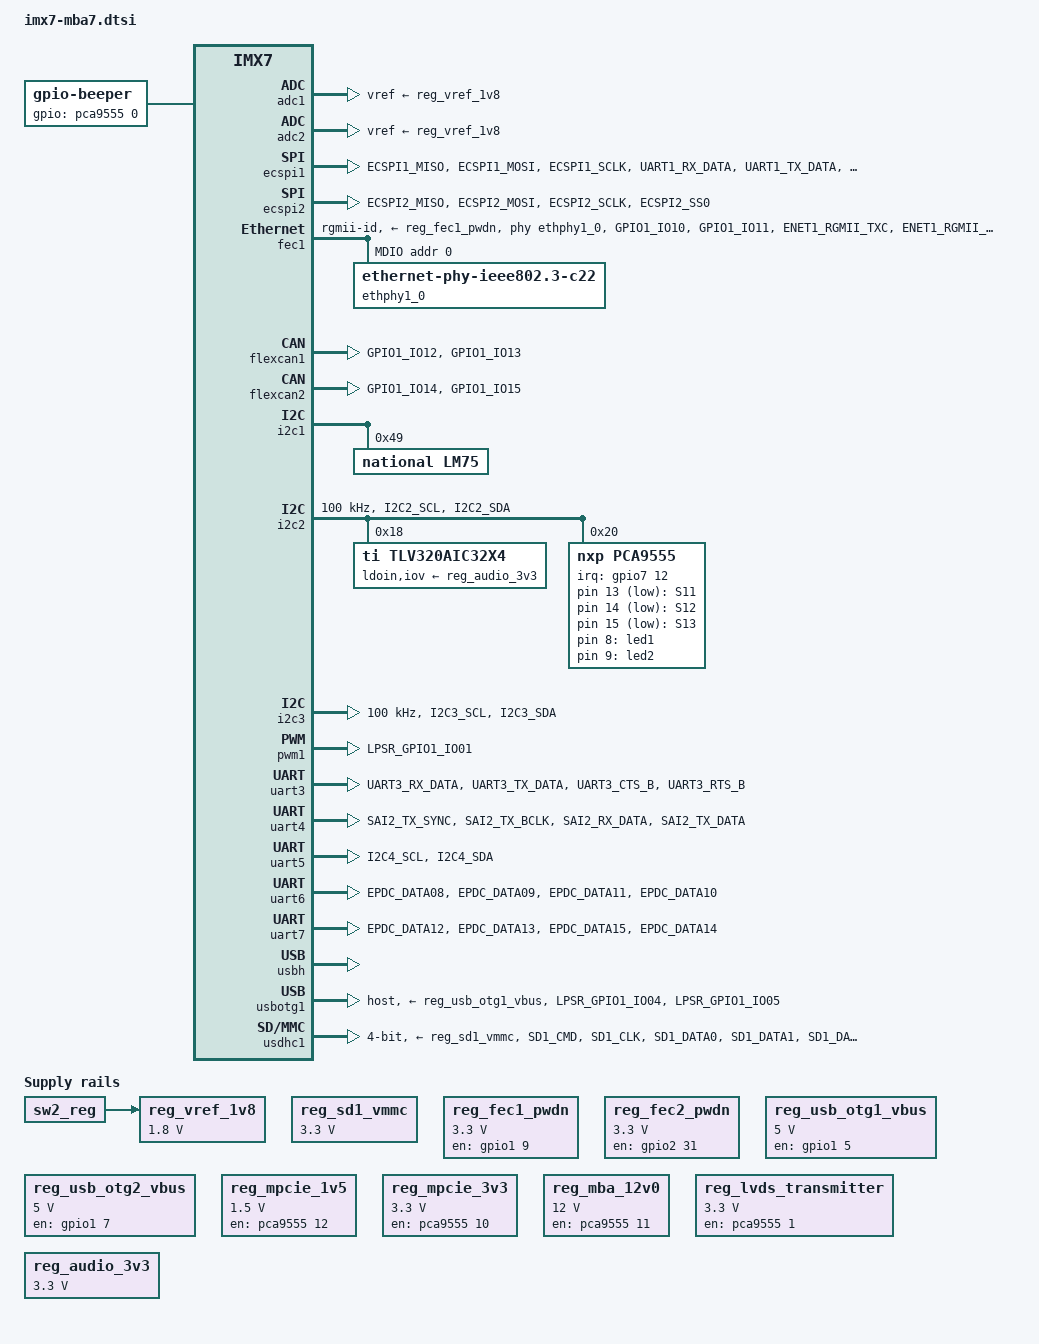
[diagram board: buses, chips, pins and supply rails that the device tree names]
// SPDX-License-Identifier: GPL-2.0 OR X11
/*
 * Device Tree Include file for TQ Systems MBa7 carrier board.
 *
 * Copyright (C) 2016 TQ Systems GmbH
 * Author: Markus Niebel <Markus.Niebel@tq-group.com>
 * Copyright (C) 2019 Bruno Thomsen <bruno.thomsen@gmail.com>
 *
 * Note: This file does not include nodes for all peripheral devices.
 * As device driver coverage increases additional nodes can be added.
 */

#include <dt-bindings/input/input.h>
#include <dt-bindings/net/ti-dp83867.h>

/ {
	beeper {
		compatible = "gpio-beeper";
		gpios = <&pca9555 0 GPIO_ACTIVE_HIGH>;
	};

	chosen {
		stdout-path = &uart6;
	};

	gpio_buttons: gpio-keys {
		compatible = "gpio-keys";

		button-0 {
			/* #SWITCH_A */
			label = "S11";
			linux,code = <KEY_1>;
			gpios = <&pca9555 13 GPIO_ACTIVE_LOW>;
		};

		button-1 {
			/* #SWITCH_B */
			label = "S12";
			linux,code = <KEY_2>;
			gpios = <&pca9555 14 GPIO_ACTIVE_LOW>;
		};

		button-2 {
			/* #SWITCH_C */
			label = "S13";
			linux,code = <KEY_3>;
			gpios = <&pca9555 15 GPIO_ACTIVE_LOW>;
		};
	};

	gpio-leds {
		compatible = "gpio-leds";

		led1 {
			label = "led1";
			gpios = <&pca9555 8 GPIO_ACTIVE_HIGH>;
			linux,default-trigger = "default-on";
		};

		led2 {
			label = "led2";
			gpios = <&pca9555 9 GPIO_ACTIVE_HIGH>;
			linux,default-trigger = "heartbeat";
		};
	};

	reg_sd1_vmmc: regulator-sd1-vmmc {
		compatible = "regulator-fixed";
		regulator-name = "VCC3V3_SD1";
		regulator-min-microvolt = <3300000>;
		regulator-max-microvolt = <3300000>;
		regulator-always-on;
	};

	reg_fec1_pwdn: regulator-fec1-pwdn {
		compatible = "regulator-fixed";
		regulator-name = "PWDN_FEC1";
		regulator-min-microvolt = <3300000>;
		regulator-max-microvolt = <3300000>;
		regulator-always-on;
		gpio = <&gpio1 9 GPIO_ACTIVE_HIGH>;
		enable-active-high;
	};

	reg_fec2_pwdn: regulator-fec2-pwdn {
		compatible = "regulator-fixed";
		regulator-name = "PWDN_FEC2";
		regulator-min-microvolt = <3300000>;
		regulator-max-microvolt = <3300000>;
		regulator-always-on;
		gpio = <&gpio2 31 GPIO_ACTIVE_HIGH>;
		enable-active-high;
	};

	reg_usb_otg1_vbus: regulator-usb-otg1-vbus {
		compatible = "regulator-fixed";
		regulator-name = "VBUS_USBOTG1";
		regulator-min-microvolt = <5000000>;
		regulator-max-microvolt = <5000000>;
		gpio = <&gpio1 5 GPIO_ACTIVE_HIGH>;
		enable-active-high;
	};

	reg_usb_otg2_vbus: regulator-usb-otg2-vbus {
		compatible = "regulator-fixed";
		regulator-name = "VBUS_USBOTG2";
		regulator-min-microvolt = <5000000>;
		regulator-max-microvolt = <5000000>;
		gpio = <&gpio1 7 GPIO_ACTIVE_HIGH>;
		enable-active-high;
	};

	reg_mpcie_1v5: regulator-mpcie-1v5 {
		compatible = "regulator-fixed";
		regulator-name = "VCC1V5_MPCIE";
		regulator-min-microvolt = <1500000>;
		regulator-max-microvolt = <1500000>;
		gpio = <&pca9555 12 GPIO_ACTIVE_HIGH>;
		enable-active-high;
		regulator-always-on;
	};

	reg_mpcie_3v3: regulator-mpcie-3v3 {
		compatible = "regulator-fixed";
		regulator-name = "VCC3V3_MPCIE";
		regulator-min-microvolt = <3300000>;
		regulator-max-microvolt = <3300000>;
		gpio = <&pca9555 10 GPIO_ACTIVE_HIGH>;
		enable-active-high;
		regulator-always-on;
	};

	reg_mba_12v0: regulator-mba-12v0 {
		compatible = "regulator-fixed";
		regulator-name = "VCC12V0_MBA7";
		regulator-min-microvolt = <12000000>;
		regulator-max-microvolt = <12000000>;
		gpio = <&pca9555 11 GPIO_ACTIVE_HIGH>;
		enable-active-high;
	};

	reg_lvds_transmitter: regulator-lvds-transmitter {
		compatible = "regulator-fixed";
		regulator-name = "#SHTDN_LVDS";
		regulator-min-microvolt = <3300000>;
		regulator-max-microvolt = <3300000>;
		gpio = <&pca9555 1 GPIO_ACTIVE_HIGH>;
		enable-active-high;
	};

	reg_vref_1v8: regulator-vref-1v8 {
		compatible = "regulator-fixed";
		regulator-name = "VCC1V8_REF";
		regulator-min-microvolt = <1800000>;
		regulator-max-microvolt = <1800000>;
		regulator-always-on;
		vin-supply = <&sw2_reg>;
	};

	reg_audio_3v3: regulator-audio-3v3 {
		compatible = "regulator-fixed";
		regulator-name = "VCC3V3_AUDIO";
		regulator-min-microvolt = <3300000>;
		regulator-max-microvolt = <3300000>;
		regulator-always-on;
	};
};

&adc1 {
	vref-supply = <&reg_vref_1v8>;
	status = "okay";
};

&adc2 {
	vref-supply = <&reg_vref_1v8>;
	status = "okay";
};

&ecspi1 {
	pinctrl-names = "default";
	pinctrl-0 = <&pinctrl_ecspi1>;
	num-chipselects = <3>;
	cs-gpios = <&gpio4 0 GPIO_ACTIVE_LOW>, <&gpio4 1 GPIO_ACTIVE_LOW>,
		   <&gpio4 2 GPIO_ACTIVE_LOW>;
	status = "okay";
};

&ecspi2 {
	pinctrl-names = "default";
	pinctrl-0 = <&pinctrl_ecspi2>;
	num-chipselects = <1>;
	status = "okay";
};

&fec1 {
	pinctrl-names = "default";
	pinctrl-0 = <&pinctrl_enet1>;
	phy-mode = "rgmii-id";
	phy-reset-gpios = <&gpio7 15 GPIO_ACTIVE_LOW>;
	phy-reset-duration = <1>;
	phy-reset-delay = <1>;
	phy-supply = <&reg_fec1_pwdn>;
	phy-handle = <&ethphy1_0>;
	fsl,magic-packet;
	status = "okay";

	mdio {
		#address-cells = <1>;
		#size-cells = <0>;

		ethphy1_0: ethernet-phy@0 {
			compatible = "ethernet-phy-ieee802.3-c22";
			reg = <0>;
			ti,rx-internal-delay = <DP83867_RGMIIDCTL_2_50_NS>;
			ti,tx-internal-delay = <DP83867_RGMIIDCTL_2_50_NS>;
			ti,fifo-depth = <DP83867_PHYCR_FIFO_DEPTH_4_B_NIB>;
			/* LED1: Link/Activity, LED2: Error */
			ti,led-function = <0x0db0>;
			/* Active low, LED1 and LED2 driven by phy */
			ti,led-ctrl = <0x1001>;
		};
	};
};

&flexcan1 {
	pinctrl-names = "default";
	pinctrl-0 = <&pinctrl_flexcan1>;
	status = "okay";
};

&flexcan2 {
	pinctrl-names = "default";
	pinctrl-0 = <&pinctrl_flexcan2>;
	status = "okay";
};

&i2c1 {
	lm75: temperature-sensor@49 {
		compatible = "national,lm75";
		reg = <0x49>;
	};
};

&i2c2 {
	clock-frequency = <100000>;
	pinctrl-names = "default";
	pinctrl-0 = <&pinctrl_i2c2>;
	status = "okay";

	tlv320aic32x4: audio-codec@18 {
		compatible = "ti,tlv320aic32x4";
		reg = <0x18>;
		clocks = <&clks IMX7D_AUDIO_MCLK_ROOT_CLK>;
		clock-names = "mclk";
		ldoin-supply = <&reg_audio_3v3>;
		iov-supply = <&reg_audio_3v3>;
	};

	pca9555: gpio-expander@20 {
		compatible = "nxp,pca9555";
		reg = <0x20>;
		pinctrl-names = "default";
		pinctrl-0 = <&pinctrl_pca9555>;
		gpio-controller;
		#gpio-cells = <2>;
		interrupt-parent = <&gpio7>;
		interrupts = <12 IRQ_TYPE_EDGE_FALLING>;
		interrupt-controller;
		#interrupt-cells = <2>;
	};
};

&i2c3 {
	clock-frequency = <100000>;
	pinctrl-names = "default";
	pinctrl-0 = <&pinctrl_i2c3>;
	status = "okay";
};

&iomuxc {
	pinctrl-names = "default";
	pinctrl-0 = <&pinctrl_hog_mba7_1>;

	pinctrl_ecspi1: ecspi1grp {
		fsl,pins = <
			MX7D_PAD_ECSPI1_MISO__ECSPI1_MISO		0x7c
			MX7D_PAD_ECSPI1_MOSI__ECSPI1_MOSI		0x74
			MX7D_PAD_ECSPI1_SCLK__ECSPI1_SCLK		0x74
			MX7D_PAD_UART1_RX_DATA__GPIO4_IO0		0x74
			MX7D_PAD_UART1_TX_DATA__GPIO4_IO1		0x74
			MX7D_PAD_UART2_RX_DATA__GPIO4_IO2		0x74
		>;
	};

	pinctrl_ecspi2: ecspi2grp {
		fsl,pins = <
			MX7D_PAD_ECSPI2_MISO__ECSPI2_MISO		0x7c
			MX7D_PAD_ECSPI2_MOSI__ECSPI2_MOSI		0x74
			MX7D_PAD_ECSPI2_SCLK__ECSPI2_SCLK		0x74
			MX7D_PAD_ECSPI2_SS0__ECSPI2_SS0			0x74
		>;
	};

	pinctrl_enet1: enet1grp {
		fsl,pins = <
			MX7D_PAD_GPIO1_IO10__ENET1_MDIO			0x02
			MX7D_PAD_GPIO1_IO11__ENET1_MDC			0x00
			MX7D_PAD_ENET1_RGMII_TXC__ENET1_RGMII_TXC	0x71
			MX7D_PAD_ENET1_RGMII_TD0__ENET1_RGMII_TD0	0x71
			MX7D_PAD_ENET1_RGMII_TD1__ENET1_RGMII_TD1	0x71
			MX7D_PAD_ENET1_RGMII_TD2__ENET1_RGMII_TD2	0x71
			MX7D_PAD_ENET1_RGMII_TD3__ENET1_RGMII_TD3	0x71
			MX7D_PAD_ENET1_RGMII_TX_CTL__ENET1_RGMII_TX_CTL	0x71
			MX7D_PAD_ENET1_RGMII_RXC__ENET1_RGMII_RXC	0x79
			MX7D_PAD_ENET1_RGMII_RD0__ENET1_RGMII_RD0	0x79
			MX7D_PAD_ENET1_RGMII_RD1__ENET1_RGMII_RD1	0x79
			MX7D_PAD_ENET1_RGMII_RD2__ENET1_RGMII_RD2	0x79
			MX7D_PAD_ENET1_RGMII_RD3__ENET1_RGMII_RD3	0x79
			MX7D_PAD_ENET1_RGMII_RX_CTL__ENET1_RGMII_RX_CTL	0x79
			/* Reset: SION, 100kPU, SRE_FAST, DSE_X1 */
			MX7D_PAD_ENET1_COL__GPIO7_IO15		0x40000070
			/* INT/PWDN: SION, 100kPU, HYS, SRE_FAST, DSE_X1 */
			MX7D_PAD_GPIO1_IO09__GPIO1_IO9		0x40000078
		>;
	};

	pinctrl_flexcan1: flexcan1grp {
		fsl,pins = <
			MX7D_PAD_GPIO1_IO12__FLEXCAN1_RX	0x5a
			MX7D_PAD_GPIO1_IO13__FLEXCAN1_TX	0x52
		>;
	};

	pinctrl_flexcan2: flexcan2grp {
		fsl,pins = <
			MX7D_PAD_GPIO1_IO14__FLEXCAN2_RX	0x5a
			MX7D_PAD_GPIO1_IO15__FLEXCAN2_TX	0x52
		>;
	};

	pinctrl_hog_mba7_1: hogmba71grp {
		fsl,pins = <
			/* Limitation: WDOG2_B / WDOG2_RESET not usable */
			MX7D_PAD_ENET1_RX_CLK__GPIO7_IO13	0x4000007c
			MX7D_PAD_ENET1_CRS__GPIO7_IO14		0x40000074
			/* #BOOT_EN */
			MX7D_PAD_UART2_TX_DATA__GPIO4_IO3	0x40000010
		>;
	};

	pinctrl_i2c2: i2c2grp {
		fsl,pins = <
			MX7D_PAD_I2C2_SCL__I2C2_SCL		0x40000078
			MX7D_PAD_I2C2_SDA__I2C2_SDA		0x40000078
		>;
	};

	pinctrl_i2c3: i2c3grp {
		fsl,pins = <
			MX7D_PAD_I2C3_SCL__I2C3_SCL		0x40000078
			MX7D_PAD_I2C3_SDA__I2C3_SDA		0x40000078
		>;
	};


	pinctrl_pca9555: pca95550grp {
		fsl,pins = <
			MX7D_PAD_ENET1_TX_CLK__GPIO7_IO12	0x78
		>;
	};

	pinctrl_uart3: uart3grp {
		fsl,pins = <
			MX7D_PAD_UART3_RX_DATA__UART3_DCE_RX	0x7e
			MX7D_PAD_UART3_TX_DATA__UART3_DCE_TX	0x76
			MX7D_PAD_UART3_CTS_B__UART3_DCE_CTS	0x76
			MX7D_PAD_UART3_RTS_B__UART3_DCE_RTS	0x7e
		>;
	};

	pinctrl_uart4: uart4grp {
		fsl,pins = <
			MX7D_PAD_SAI2_TX_SYNC__UART4_DCE_RX	0x7e
			MX7D_PAD_SAI2_TX_BCLK__UART4_DCE_TX	0x76
			MX7D_PAD_SAI2_RX_DATA__UART4_DCE_CTS	0x76
			MX7D_PAD_SAI2_TX_DATA__UART4_DCE_RTS	0x7e
		>;
	};

	pinctrl_uart5: uart5grp {
		fsl,pins = <
			MX7D_PAD_I2C4_SCL__UART5_DCE_RX		0x7e
			MX7D_PAD_I2C4_SDA__UART5_DCE_TX		0x76
		>;
	};

	pinctrl_uart6: uart6grp {
		fsl,pins = <
			MX7D_PAD_EPDC_DATA08__UART6_DCE_RX	0x7d
			MX7D_PAD_EPDC_DATA09__UART6_DCE_TX	0x75
			MX7D_PAD_EPDC_DATA11__UART6_DCE_CTS	0x75
			MX7D_PAD_EPDC_DATA10__UART6_DCE_RTS	0x7d
		>;
	};

	pinctrl_uart7: uart7grp {
		fsl,pins = <
			MX7D_PAD_EPDC_DATA12__UART7_DCE_RX	0x7e
			MX7D_PAD_EPDC_DATA13__UART7_DCE_TX	0x76
			MX7D_PAD_EPDC_DATA15__UART7_DCE_CTS	0x76
			/* Limitation: RTS is not connected */
			MX7D_PAD_EPDC_DATA14__UART7_DCE_RTS	0x7e
		>;
	};

	pinctrl_usdhc1_gpio: usdhc1grp_gpio {
		fsl,pins = <
			/* WP */
			MX7D_PAD_SD1_WP__GPIO5_IO1		0x7c
			/* CD */
			MX7D_PAD_SD1_CD_B__GPIO5_IO0		0x7c
			/* VSELECT */
			MX7D_PAD_GPIO1_IO08__SD1_VSELECT	0x59
		>;
	};

	pinctrl_usdhc1: usdhc1grp {
		fsl,pins = <
			MX7D_PAD_SD1_CMD__SD1_CMD		0x5e
			MX7D_PAD_SD1_CLK__SD1_CLK		0x57
			MX7D_PAD_SD1_DATA0__SD1_DATA0		0x5e
			MX7D_PAD_SD1_DATA1__SD1_DATA1		0x5e
			MX7D_PAD_SD1_DATA2__SD1_DATA2		0x5e
			MX7D_PAD_SD1_DATA3__SD1_DATA3		0x5e
		>;
	};

	pinctrl_usdhc1_100mhz: usdhc1grp_100mhz {
		fsl,pins = <
			MX7D_PAD_SD1_CMD__SD1_CMD		0x5a
			MX7D_PAD_SD1_CLK__SD1_CLK		0x57
			MX7D_PAD_SD1_DATA0__SD1_DATA0		0x5a
			MX7D_PAD_SD1_DATA1__SD1_DATA1		0x5a
			MX7D_PAD_SD1_DATA2__SD1_DATA2		0x5a
			MX7D_PAD_SD1_DATA3__SD1_DATA3		0x5a
		>;
	};

	pinctrl_usdhc1_200mhz: usdhc1grp_200mhz {
		fsl,pins = <
			MX7D_PAD_SD1_CMD__SD1_CMD		0x5b
			MX7D_PAD_SD1_CLK__SD1_CLK		0x57
			MX7D_PAD_SD1_DATA0__SD1_DATA0		0x5b
			MX7D_PAD_SD1_DATA1__SD1_DATA1		0x5b
			MX7D_PAD_SD1_DATA2__SD1_DATA2		0x5b
			MX7D_PAD_SD1_DATA3__SD1_DATA3		0x5b
		>;
	};
};

&iomuxc_lpsr {
	pinctrl_pwm1: pwm1grp {
		fsl,pins = <
			/* LCD_CONTRAST */
			MX7D_PAD_LPSR_GPIO1_IO01__PWM1_OUT	0x50
		>;
	};

	pinctrl_usbotg1: usbotg1grp {
		fsl,pins = <
			MX7D_PAD_LPSR_GPIO1_IO04__USB_OTG1_OC	0x5c
			MX7D_PAD_LPSR_GPIO1_IO05__GPIO1_IO5	0x59
		>;
	};

	pinctrl_wdog1: wdog1grp {
		fsl,pins = <
			MX7D_PAD_LPSR_GPIO1_IO00__WDOG1_WDOG_B	0x30
		>;
	};
};

&pwm1 {
	pinctrl-names = "default";
	pinctrl-0 = <&pinctrl_pwm1>;
	status = "okay";
};

&uart3 {
	pinctrl-names = "default";
	pinctrl-0 = <&pinctrl_uart3>;
	assigned-clocks = <&clks IMX7D_UART3_ROOT_SRC>;
	assigned-clock-parents = <&clks IMX7D_OSC_24M_CLK>;
	status = "okay";
};

&uart4 {
	pinctrl-names = "default";
	pinctrl-0 = <&pinctrl_uart4>;
	assigned-clocks = <&clks IMX7D_UART4_ROOT_SRC>;
	assigned-clock-parents = <&clks IMX7D_OSC_24M_CLK>;
	status = "okay";
};

&uart5 {
	pinctrl-names = "default";
	pinctrl-0 = <&pinctrl_uart5>;
	assigned-clocks = <&clks IMX7D_UART5_ROOT_SRC>;
	assigned-clock-parents = <&clks IMX7D_OSC_24M_CLK>;
	status = "okay";
};

&uart6 {
	pinctrl-names = "default";
	pinctrl-0 = <&pinctrl_uart6>;
	assigned-clocks = <&clks IMX7D_UART6_ROOT_SRC>;
	assigned-clock-parents = <&clks IMX7D_OSC_24M_CLK>;
	status = "okay";
};

&uart7 {
	pinctrl-names = "default";
	pinctrl-0 = <&pinctrl_uart7>;
	assigned-clocks = <&clks IMX7D_UART7_ROOT_SRC>;
	assigned-clock-parents = <&clks IMX7D_OSC_24M_CLK>;
	uart-has-rtscts;
	status = "okay";
};

&usbh {
	status = "okay";
};

&usbotg1 {
	pinctrl-names = "default";
	pinctrl-0 = <&pinctrl_usbotg1>;
	vbus-supply = <&reg_usb_otg1_vbus>;
	srp-disable;
	hnp-disable;
	adp-disable;
	dr_mode = "host";
	status = "okay";
};

&usdhc1 {
	pinctrl-names = "default", "state_100mhz", "state_200mhz";
	pinctrl-0 = <&pinctrl_usdhc1>, <&pinctrl_usdhc1_gpio>;
	pinctrl-1 = <&pinctrl_usdhc1_100mhz>, <&pinctrl_usdhc1_gpio>;
	pinctrl-2 = <&pinctrl_usdhc1_200mhz>, <&pinctrl_usdhc1_gpio>;
	cd-gpios = <&gpio5 0 GPIO_ACTIVE_LOW>;
	wp-gpios = <&gpio5 1 GPIO_ACTIVE_HIGH>;
	vmmc-supply = <&reg_sd1_vmmc>;
	bus-width = <4>;
	no-1-8-v;
	status = "okay";
};

&wdog1 {
	pinctrl-names = "default";
	pinctrl-0 = <&pinctrl_wdog1>;
};
